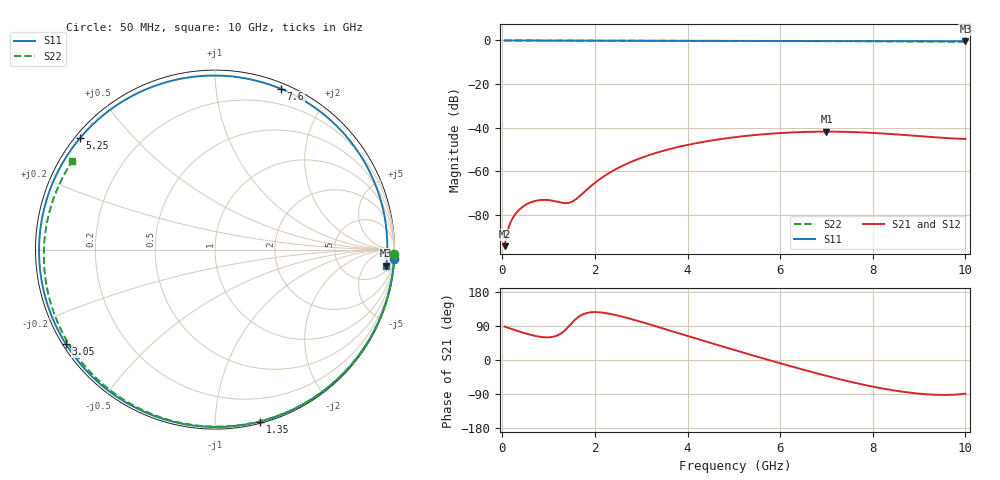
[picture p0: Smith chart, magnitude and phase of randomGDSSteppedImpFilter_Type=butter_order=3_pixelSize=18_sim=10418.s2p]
! freq	dB(S11)	phase(S11)	dB(S12)	phase(S12)
!  dB(S21)	phase(S21)	dB(S22)	phase(S22)
!S-par simulation data
#  GHz  S  DB  R 50
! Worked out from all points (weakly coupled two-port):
!   200 points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, 50 MHz to 10 GHz, reference 50 ohm
!   highest |S21| = -41.80 dB at 7 GHz (marker M1); lowest = -94.3 dB at 50 MHz (marker M2)
!   lowest |S11| = -0.4 dB at 10 GHz (marker M3), VSWR 47.14, Z = 408 - j891 ohm
!   |S11| at or under -10 dB: nowhere
!   |S22| runs from -0.6 to 0.0 dB; largest |S21 - S12| = 0
!   S11 on the Smith chart (normalised r, x): 50 MHz: 0, -38; 1.35 GHz: 0.01, -1.30; 3.05 GHz: 0.01, -0.29; 5.25 GHz: 0.01, +0.36; 7.6 GHz: 0.05, +1.49; 10 GHz: 8, -18
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0.05  -0.00 -3.0  -94.32 87.9  -94.32 87.9  -0.00 -1.3
0.25  -0.02 -14.8  -80.60 79.7  -80.60 79.7  -0.01 -6.5
0.5  -0.04 -29.3  -75.42 70.1  -75.42 70.1  -0.01 -12.9
0.75  -0.06 -43.5  -73.40 62.6  -73.40 62.6  -0.02 -19.3
1.05  -0.07 -59.8  -73.35 60.3  -73.35 60.3  -0.03 -27.0
1.35  -0.09 -75.3  -74.59 78.1  -74.59 78.1  -0.04 -34.5
1.5  -0.09 -82.8  -73.99 97.3  -73.99 97.3  -0.05 -38.2
1.75  -0.11 -94.6  -69.85 121.0  -69.85 121.0  -0.06 -44.3
2.05  -0.12 -108.1  -64.46 126.2  -64.46 126.2  -0.07 -51.6
2.35  -0.13 -120.7  -60.23 121.2  -60.23 121.2  -0.07 -58.7
3.05  -0.14 -147.6  -53.44 98.7  -53.44 98.7  -0.10 -74.9
3.4  -0.15 -160.0  -51.04 85.9  -51.04 85.9  -0.11 -82.6
4.2  -0.18 173.4  -47.05 56.0  -47.05 56.0  -0.14 -99.7
5.05  -0.21 146.7  -44.28 25.0  -44.28 25.0  -0.17 -117.0
5.25  -0.22 140.5  -43.79 17.8  -43.79 17.8  -0.18 -120.9
6  -0.24 117.4  -42.47 -8.6  -42.47 -8.6  -0.23 -135.4
6.7  -0.26 95.8  -41.87 -32.2  -41.87 -32.2  -0.27 -148.6
7  -0.27 86.4  -41.80 -41.8  -41.80 -41.8  -0.30 -154.2
7.6  -0.28 67.7  -42.02 -59.8  -42.02 -59.8  -0.34 -165.4
8.35  -0.30 44.3  -42.84 -78.2  -42.84 -78.2  -0.41 -179.4
9.2  -0.32 18.3  -44.17 -90.7  -44.17 -90.7  -0.50 164.2
10  -0.37 -5.3  -45.14 -88.9  -45.14 -88.9  -0.58 148.2
